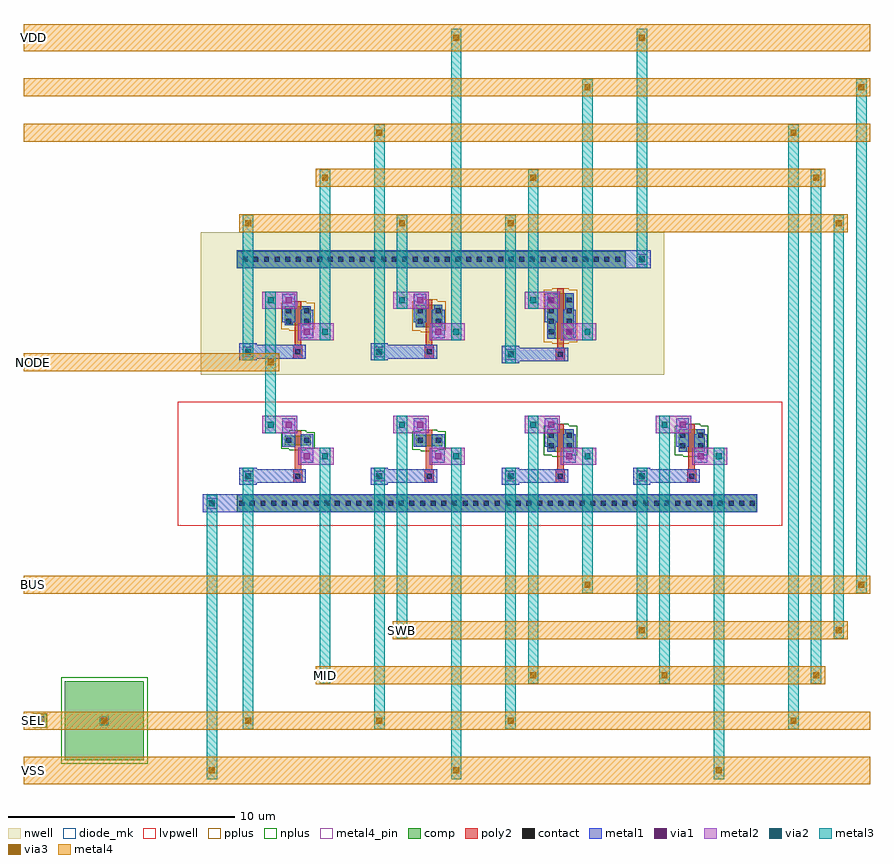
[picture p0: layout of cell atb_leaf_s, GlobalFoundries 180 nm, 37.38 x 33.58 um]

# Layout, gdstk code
import gdstk
lib = gdstk.Library(unit=1e-6, precision=1e-09)
def R(c, l, rs):  # rectangles x0, y0, x1, y1
    for r in rs: c.add(gdstk.rectangle(r[:2], r[2:], *l))
def A(c, l, x, y, w, h, nx, ny, dx, dy):  # array of equal rectangles
    R(c, l, [(x+i*dx, y+j*dy, x+i*dx+w, y+j*dy+h) for i in range(nx) for j in range(ny)])
nwell = (21, 0)
comp = (22, 0)
poly2 = (30, 0)
pplus = (31, 0)
nplus = (32, 0)
contact = (33, 0)
metal1 = (34, 0)
via1 = (35, 0)
metal2 = (36, 0)
via2 = (38, 0)
via3 = (40, 0)
metal3 = (42, 0)
metal4 = (46, 0)
metal4_pin = (46, 10)
diode_mk = (115, 5)
lvpwell = (204, 0)

atb_leaf_s = lib.new_cell('atb_leaf_s')
R(atb_leaf_s, nwell, [(-1.5,17.68,19,23.98)])
R(atb_leaf_s, comp, [(-7.5,0.65,-4,4.15), (-8.9,2.1,-8.3,2.7), (0.13,11.63,23.07,12.37), (13.82,14.28,14.98,15.28), (19.62,14.28,20.78,15.28), (8.02,14.53,9.18,15.03), (2.22,14.57,3.38,14.99), (13.82,19.28,14.98,21.28), (8.02,19.78,9.18,20.78), (2.22,19.86,3.38,20.7), (0.13,22.41,17.27,23.15)])
A(atb_leaf_s, poly2, 2.6, 12.9, 0.4, 0.6, 4, 1, 5.8, 0)
R(atb_leaf_s, poly2, [(2.66,13.5,2.94,15.21), (8.46,13.5,8.74,15.25), (14.26,13.5,14.54,15.5), (20.06,13.5,20.34,15.5), (14.2,18.28,14.6,18.88), (2.6,18.4,3,19), (8.4,18.4,8.8,19), (14.26,18.88,14.54,21.5), (2.66,19,2.94,20.92), (8.46,19,8.74,21)])
R(atb_leaf_s, pplus, [(-8.92,2.08,-8.28,2.72), (0.11,11.61,23.09,11.655), (0.105,11.655,23.095,12.345), (0.11,12.345,23.09,12.39), (14.03,19.05,14.77,19.12), (13.66,19.12,15.14,21.44), (8.23,19.55,8.97,19.62), (7.86,19.62,9.34,20.94), (2.43,19.63,3.17,19.7), (2.06,19.7,3.54,20.86), (2.43,20.86,3.17,20.93), (8.23,20.94,8.97,21.01), (14.03,21.44,14.77,21.51)])
R(atb_leaf_s, nplus, [(-7.66,0.49,-3.84,4.31), (14.03,14.05,14.77,14.12), (19.83,14.05,20.57,14.12), (13.66,14.12,15.14,15.44), (19.46,14.12,20.94,15.44), (8.23,14.3,8.97,14.37), (2.43,14.34,3.17,14.41), (7.86,14.37,9.34,15.19), (2.06,14.41,3.54,15.15), (2.43,15.15,3.17,15.22), (8.23,15.19,8.97,15.26), (14.03,15.44,14.77,15.51), (19.83,15.44,20.57,15.51), (0.11,22.39,17.29,22.435), (0.105,22.435,17.295,23.125), (0.11,23.125,17.29,23.17)])
A(atb_leaf_s, contact, 0.21, 11.89, 0.22, 0.22, 49, 1, 0.47, 0)
A(atb_leaf_s, contact, 2.69, 13.09, 0.22, 0.22, 4, 1, 5.8, 0)
A(atb_leaf_s, contact, 13.89, 19.465, 0.22, 0.22, 1, 4, 0, 0.47)
A(atb_leaf_s, contact, 14.69, 19.465, 0.22, 0.22, 1, 4, 0, 0.47)
A(atb_leaf_s, contact, 0.365, 22.67, 0.22, 0.22, 36, 1, 0.47, 0)
R(atb_leaf_s, contact, [(-8.71,2.29,-8.49,2.51), (-5.86,2.29,-5.64,2.51), (13.89,14.435,14.11,14.655), (14.69,14.435,14.91,14.655), (19.69,14.435,19.91,14.655), (20.49,14.435,20.71,14.655), (2.29,14.67,2.51,14.89), (3.09,14.67,3.31,14.89), (8.09,14.67,8.31,14.89), (8.89,14.67,9.11,14.89), (13.89,14.905,14.11,15.125), (14.69,14.905,14.91,15.125), (19.69,14.905,19.91,15.125), (20.49,14.905,20.71,15.125), (14.29,18.47,14.51,18.69), (2.69,18.59,2.91,18.81), (8.49,18.59,8.71,18.81), (2.29,19.935,2.51,20.155), (3.09,19.935,3.31,20.155), (8.09,19.935,8.31,20.155), (8.89,19.935,9.11,20.155), (2.29,20.405,2.51,20.625), (3.09,20.405,3.31,20.625), (8.09,20.405,8.31,20.625), (8.89,20.405,9.11,20.625)])
A(atb_leaf_s, metal1, 0.22, 12.82, 0.76, 0.08, 4, 2, 5.8, 0.68)
A(atb_leaf_s, metal1, 0.22, 12.9, 2.93, 0.6, 4, 1, 5.8, 0)
A(atb_leaf_s, metal1, 2.92, 13.8, 0.56, 1.26, 4, 1, 5.8, 0)
A(atb_leaf_s, metal1, 2.12, 14.5, 0.56, 1.26, 4, 1, 5.8, 0)
A(atb_leaf_s, metal1, 2.92, 19.3, 0.56, 1.26, 3, 1, 5.8, 0)
A(atb_leaf_s, metal1, 2.12, 20, 0.56, 1.26, 3, 1, 5.8, 0)
R(atb_leaf_s, metal1, [(-8.8,2.2,-8.4,2.6), (-5.95,2.2,-5.55,2.6), (-1.4,11.6,23.1,12.4), (13.82,14.28,14.18,14.5), (19.62,14.28,19.98,14.5), (14.62,15.06,14.98,15.28), (20.42,15.06,20.78,15.28), (11.82,18.2,12.58,18.28), (11.82,18.28,14.75,18.88), (0.22,18.32,0.98,18.4), (6.02,18.32,6.78,18.4), (0.22,18.4,3.15,19), (6.02,18.4,8.95,19), (11.82,18.88,12.58,18.96), (0.22,19,0.98,19.08), (6.02,19,6.78,19.08), (13.82,19.28,14.18,20), (14.62,19.28,14.98,19.3), (8.02,19.78,8.38,20), (2.22,19.86,2.58,20), (3.02,20.56,3.38,20.7), (8.82,20.56,9.18,20.78), (14.62,20.56,14.98,21.28), (13.82,21.26,14.18,21.28), (0.1,22.38,18.4,23.18)])
A(atb_leaf_s, via1, 0.47, 13.07, 0.26, 0.26, 4, 1, 5.8, 0)
A(atb_leaf_s, via1, 3.07, 13.95, 0.26, 0.26, 4, 1, 5.8, 0)
A(atb_leaf_s, via1, 2.27, 15.35, 0.26, 0.26, 4, 1, 5.8, 0)
A(atb_leaf_s, via1, 3.07, 19.45, 0.26, 0.26, 3, 1, 5.8, 0)
A(atb_leaf_s, via1, 2.27, 20.85, 0.26, 0.26, 3, 1, 5.8, 0)
R(atb_leaf_s, via1, [(-5.88,2.27,-5.62,2.53), (-1.13,11.87,-0.87,12.13), (12.07,18.45,12.33,18.71), (0.47,18.57,0.73,18.83), (6.27,18.57,6.53,18.83), (17.87,22.65,18.13,22.91)])
A(atb_leaf_s, metal2, 0.37, 12.97, 0.46, 0.46, 4, 1, 5.8, 0)
A(atb_leaf_s, metal2, 2.82, 13.7, 1.56, 0.76, 4, 1, 5.8, 0)
A(atb_leaf_s, metal2, 1.22, 15.1, 1.56, 0.76, 4, 1, 5.8, 0)
A(atb_leaf_s, metal2, 2.82, 19.2, 1.56, 0.76, 3, 1, 5.8, 0)
A(atb_leaf_s, metal2, 1.22, 20.6, 1.56, 0.76, 3, 1, 5.8, 0)
R(atb_leaf_s, metal2, [(-5.95,2.2,-5.55,2.6), (-1.23,11.77,-0.77,12.23), (11.97,18.35,12.43,18.81), (0.37,18.47,0.83,18.93), (6.17,18.47,6.63,18.93), (17.77,22.55,18.23,23.01)])
A(atb_leaf_s, via2, 0.47, 13.07, 0.26, 0.26, 4, 1, 5.8, 0)
A(atb_leaf_s, via2, 3.87, 13.95, 0.26, 0.26, 4, 1, 5.8, 0)
A(atb_leaf_s, via2, 1.47, 15.35, 0.26, 0.26, 4, 1, 5.8, 0)
A(atb_leaf_s, via2, 3.87, 19.45, 0.26, 0.26, 3, 1, 5.8, 0)
A(atb_leaf_s, via2, 1.47, 20.85, 0.26, 0.26, 3, 1, 5.8, 0)
R(atb_leaf_s, via2, [(-5.88,2.27,-5.62,2.53), (-1.13,11.87,-0.87,12.13), (12.07,18.45,12.33,18.71), (0.47,18.57,0.73,18.83), (6.27,18.57,6.53,18.83), (17.87,22.65,18.13,22.91)])
A(atb_leaf_s, via3, 0.47, 2.27, 0.26, 0.26, 3, 1, 5.8, 0)
R(atb_leaf_s, via3, [(-1.13,0.07,-0.87,0.33), (9.67,0.07,9.93,0.33), (21.27,0.07,21.53,0.33), (-5.88,2.27,-5.62,2.53), (24.57,2.27,24.83,2.53), (3.87,4.27,4.13,4.53), (13.07,4.27,13.33,4.53), (18.87,4.27,19.13,4.53), (25.57,4.27,25.83,4.53), (7.27,6.27,7.53,6.53), (17.87,6.27,18.13,6.53), (26.57,6.27,26.83,6.53), (15.47,8.27,15.73,8.53), (27.57,8.27,27.83,8.53), (1.47,18.1,1.73,18.36), (0.47,24.25,0.73,24.51), (7.27,24.25,7.53,24.51), (12.07,24.25,12.33,24.51), (26.57,24.25,26.83,24.51), (3.87,26.25,4.13,26.51), (13.07,26.25,13.33,26.51), (25.57,26.25,25.83,26.51), (6.27,28.25,6.53,28.51), (24.57,28.25,24.83,28.51), (15.47,30.25,15.73,30.51), (27.57,30.25,27.83,30.51), (9.67,32.45,9.93,32.71), (17.87,32.45,18.13,32.71)])
A(atb_leaf_s, metal3, 0.37, 2.02, 0.46, 11.56, 3, 1, 5.8, 0)
R(atb_leaf_s, metal3, [(-1.23,-0.18,-0.77,12.38), (9.57,-0.18,10.03,14.46), (21.17,-0.18,21.63,14.46), (24.47,2.02,24.93,28.76), (-5.95,2.2,-5.55,2.6), (3.77,4.02,4.23,14.46), (12.97,4.02,13.43,15.86), (18.77,4.02,19.23,15.86), (25.47,4.02,25.93,26.76), (7.17,6.02,7.63,15.86), (17.77,6.02,18.23,13.58), (26.47,6.02,26.93,24.76), (15.37,8.02,15.83,14.46), (27.47,8.02,27.93,30.76), (1.37,15.1,1.83,21.36), (11.97,18.2,12.43,24.76), (0.37,18.32,0.83,24.76), (6.17,18.32,6.63,28.76), (3.77,19.2,4.23,26.76), (9.57,19.2,10.03,32.96), (15.37,19.2,15.83,30.76), (7.17,20.6,7.63,24.76), (12.97,20.6,13.43,26.76), (17.77,22.4,18.23,32.96)])
R(atb_leaf_s, metal4, [(-9.3,-0.4,28.08,0.8), (-9.3,2,28.08,2.8), (3.6,4,26.1,4.8), (7,6,27.1,6.8), (-9.3,8,28.08,8.8), (-9.3,17.83,1.98,18.63), (0.2,23.98,27.1,24.78), (3.6,25.98,26.1,26.78), (-9.3,27.98,28.08,28.78), (-9.3,29.98,28.08,30.78), (-9.3,31.98,28.08,33.18)])
R(atb_leaf_s, metal4_pin, [(-9.2,0,-8.6,0.4), (-9.2,2.2,-8.6,2.6), (-9.2,8.2,-8.6,8.6), (-9.2,18.03,-8.6,18.43), (-9.2,32.38,-8.6,32.78)])
R(atb_leaf_s, diode_mk, [(-7.5,0.65,-4,4.15)])
R(atb_leaf_s, lvpwell, [(-2.5,11,24.2,16.48)])
atb_leaf_s.add(gdstk.Label('MID', (4,4.4), layer=46, texttype=0))
atb_leaf_s.add(gdstk.Label('SWB', (7.4,6.4), layer=46, texttype=0))
atb_leaf_s.add(gdstk.Label('NODE', (-8.9,18.23), layer=46, texttype=10))
atb_leaf_s.add(gdstk.Label('BUS', (-8.9,8.4), layer=46, texttype=10))
atb_leaf_s.add(gdstk.Label('SEL', (-8.9,2.4), layer=46, texttype=10))
atb_leaf_s.add(gdstk.Label('VDD', (-8.9,32.58), layer=46, texttype=10))
atb_leaf_s.add(gdstk.Label('VSS', (-8.9,0.2), layer=46, texttype=10))

lib.write_gds('atb_leaf_s.gds')
